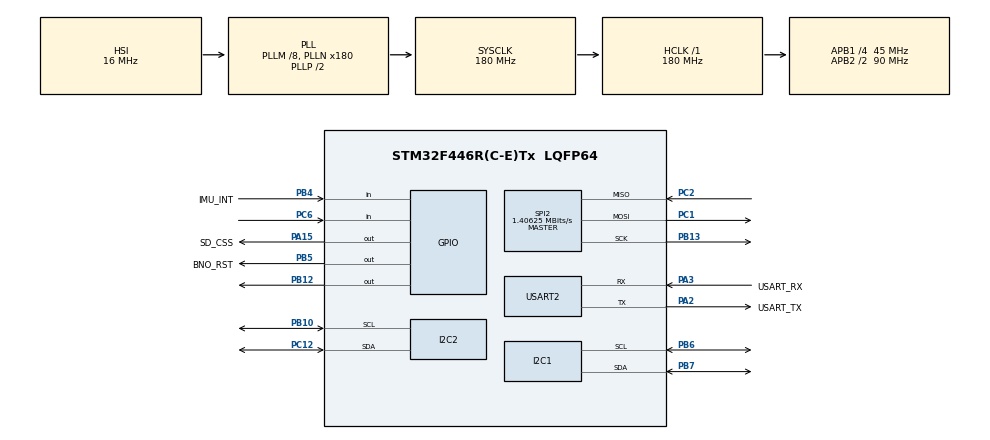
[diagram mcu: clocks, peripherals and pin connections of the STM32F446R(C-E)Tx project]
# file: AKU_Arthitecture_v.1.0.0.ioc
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FREERTOS.Tasks01=Read_SensorData,2,1024,Read_Sensor_Data_Task,Default,NULL,Dynamic,NULL,NULL;Flight_States,2,1024,Flight_States_Task,Default,NULL,Dynamic,NULL,NULL
FREERTOS.configCHECK_FOR_STACK_OVERFLOW=1
FREERTOS.configTOTAL_HEAP_SIZE=45360
FREERTOS.configUSE_NEWLIB_REENTRANT=1
Mcu.Family=STM32F4
Mcu.Name=STM32F446R(C-E)Tx
Mcu.Package=LQFP64
NVIC.PriorityGroup=NVIC_PRIORITYGROUP_4
NVIC.TIM1_UP_TIM10_IRQn=true\:15\:0\:false\:false\:true\:false\:false\:true\:true
NVIC.TimeBase=TIM1_UP_TIM10_IRQn
NVIC.TimeBaseIP=TIM1
NVIC.USART2_IRQn=true\:5\:0\:false\:false\:true\:true\:true\:true\:true
PA13.GPIO_Label=TMS
PA13.Mode=Serial_Wire
PA13.Signal=SYS_JTMS-SWDIO
PA14.GPIO_Label=TCK
PA14.Mode=Serial_Wire
PA14.Signal=SYS_JTCK-SWCLK
PA15.GPIO_Label=SD_CSS
PA15.Signal=GPIO_Output
PA2.GPIO_Label=USART_TX
PA2.Mode=Asynchronous
PA2.Signal=USART2_TX
PA3.GPIO_Label=USART_RX
PA3.Mode=Asynchronous
PA3.Signal=USART2_RX
PB10.Mode=I2C
PB10.Signal=I2C2_SCL
PB12.Signal=GPIO_Output
PB13.Mode=Full_Duplex_Master
PB13.Signal=SPI2_SCK
PB4.GPIO_Label=IMU_INT
PB4.Signal=GPIO_Input
PB5.GPIO_Label=BNO_RST
PB5.Signal=GPIO_Output
PB6.Mode=I2C
PB6.Signal=I2C1_SCL
PB7.Mode=I2C
PB7.Signal=I2C1_SDA
PC1.Mode=Full_Duplex_Master
PC1.Signal=SPI2_MOSI
PC12.Mode=I2C
PC12.Signal=I2C2_SDA
PC2.Mode=Full_Duplex_Master
PC2.Signal=SPI2_MISO
PC6.Signal=GPIO_Input
PH0-OSC_IN.Mode=HSE-External-Oscillator
PH0-OSC_IN.Signal=RCC_OSC_IN
PH1-OSC_OUT.Mode=HSE-External-Oscillator
PH1-OSC_OUT.Signal=RCC_OSC_OUT
ProjectManager.HeapSize=0x200
ProjectManager.StackSize=0x400
ProjectManager.TargetToolchain=STM32CubeIDE
RCC.48MHZClocksFreq_Value=84000000
RCC.AHBFreq_Value=180000000
RCC.APB1CLKDivider=RCC_HCLK_DIV4
RCC.APB1Freq_Value=45000000
RCC.APB1TimFreq_Value=90000000
RCC.APB2CLKDivider=RCC_HCLK_DIV2
RCC.APB2Freq_Value=90000000
RCC.APB2TimFreq_Value=180000000
RCC.CortexFreq_Value=180000000
RCC.FLatency-AdvancedSettings=FLASH_LATENCY_5
RCC.HCLKFreq_Value=180000000
RCC.HSE_VALUE=8000000
RCC.HSI_VALUE=16000000
RCC.PLLM=8
RCC.PLLN=180
RCC.PLLQ=3
RCC.PLLSourceVirtual=RCC_PLLSOURCE_HSI
RCC.SYSCLKFreq_VALUE=180000000
RCC.SYSCLKSource=RCC_SYSCLKSOURCE_PLLCLK
RCC.USBFreq_Value=120000000
RCC.VCOOutputFreq_Value=360000000
SPI2.BaudRatePrescaler=SPI_BAUDRATEPRESCALER_32
SPI2.CalculateBaudRate=1.40625 MBits/s
SPI2.Direction=SPI_DIRECTION_2LINES
SPI2.Mode=SPI_MODE_MASTER
SPI2.VirtualType=VM_MASTER
TIM2.Period=9999
TIM2.Prescaler=180-1
TIM3.Channel-Output\ Compare1\ No\ Output=TIM_CHANNEL_1
TIM3.Channel-Output\ Compare2\ No\ Output=TIM_CHANNEL_2
TIM3.Period=9999
TIM3.Prescaler=180-1
TIM6.AutoReloadPreload=TIM_AUTORELOAD_PRELOAD_DISABLE
TIM6.Prescaler=9000-1
USART2.VirtualMode=VM_ASYNC
VP_FREERTOS_VS_CMSIS_V1.Mode=CMSIS_V1
VP_SYS_VS_tim1.Mode=TIM1
VP_TIM2_VS_ClockSourceINT.Mode=Internal
VP_TIM3_VS_ClockSourceINT.Mode=Internal
VP_TIM3_VS_no_output1.Mode=Output Compare1 No Output
VP_TIM3_VS_no_output2.Mode=Output Compare2 No Output
VP_TIM6_VS_ClockSourceINT.Mode=Enable_Timer
board=NUCLEO-F446RE

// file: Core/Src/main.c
/* USER CODE BEGIN Header */
/**
  ******************************************************************************
  * @file           : main.c
  * @brief          : Main program body
  ******************************************************************************
  * @attention
  *
  * Copyright (c) 2024 STMicroelectronics.
  * All rights reserved.
  *
  * This software is licensed under terms that can be found in the LICENSE file
  * in the root directory of this software component.
  * If no LICENSE file comes with this software, it is provided AS-IS.
  *
  ******************************************************************************
  */
/* USER CODE END Header */
#include "main.h"
#include "cmsis_os.h"
#include "i2c.h"
#include "spi.h"
#include "tim.h"
#include "usart.h"
#include "gpio.h"

/* USER CODE BEGIN Includes */
#include "yrt_ms5611.h"
/* USER CODE END Includes */

void SystemClock_Config(void);
void MX_FREERTOS_Init(void);

int main(void)
{

  /* MCU Configuration--------------------------------------------------------*/

  /* Reset of all peripherals, Initializes the Flash interface and the Systick. */
  HAL_Init();

  /* Configure the system clock */
  SystemClock_Config();

  /* Initialize all configured peripherals */
  MX_GPIO_Init();
  MX_USART2_UART_Init();
  MX_I2C2_Init();
  MX_TIM2_Init();
  MX_I2C1_Init();
  MX_TIM3_Init();
  MX_TIM6_Init();
  MX_SPI2_Init();

  /* Call init function for freertos objects (in freertos.c) */
  MX_FREERTOS_Init();

  /* Start scheduler */
  osKernelStart();
  /* We should never get here as control is now taken by the scheduler */
  /* Infinite loop */
  while (1)
  {

  }
}

void SystemClock_Config(void)
{
  RCC_OscInitTypeDef RCC_OscInitStruct = {0};
  RCC_ClkInitTypeDef RCC_ClkInitStruct = {0};

  /** Configure the main internal regulator output voltage
  */
  __HAL_RCC_PWR_CLK_ENABLE();
  __HAL_PWR_VOLTAGESCALING_CONFIG(PWR_REGULATOR_VOLTAGE_SCALE1);

  /** Initializes the RCC Oscillators according to the specified parameters
  * in the RCC_OscInitTypeDef structure.
  */
  RCC_OscInitStruct.OscillatorType = RCC_OSCILLATORTYPE_HSI;
  RCC_OscInitStruct.HSIState = RCC_HSI_ON;
  RCC_OscInitStruct.HSICalibrationValue = RCC_HSICALIBRATION_DEFAULT;
  RCC_OscInitStruct.PLL.PLLState = RCC_PLL_ON;
  RCC_OscInitStruct.PLL.PLLSource = RCC_PLLSOURCE_HSI;
  RCC_OscInitStruct.PLL.PLLM = 8;
  RCC_OscInitStruct.PLL.PLLN = 180;
  RCC_OscInitStruct.PLL.PLLP = RCC_PLLP_DIV2;
  RCC_OscInitStruct.PLL.PLLQ = 3;
  RCC_OscInitStruct.PLL.PLLR = 2;
  if (HAL_RCC_OscConfig(&RCC_OscInitStruct) != HAL_OK)
  {
    Error_Handler();
  }

  /** Activate the Over-Drive mode
  */
  if (HAL_PWREx_EnableOverDrive() != HAL_OK)
  {
    Error_Handler();
  }

  /** Initializes the CPU, AHB and APB buses clocks
  */
  RCC_ClkInitStruct.ClockType = RCC_CLOCKTYPE_HCLK|RCC_CLOCKTYPE_SYSCLK
                              |RCC_CLOCKTYPE_PCLK1|RCC_CLOCKTYPE_PCLK2;
  RCC_ClkInitStruct.SYSCLKSource = RCC_SYSCLKSOURCE_PLLCLK;
  RCC_ClkInitStruct.AHBCLKDivider = RCC_SYSCLK_DIV1;
  RCC_ClkInitStruct.APB1CLKDivider = RCC_HCLK_DIV4;
  RCC_ClkInitStruct.APB2CLKDivider = RCC_HCLK_DIV2;

  if (HAL_RCC_ClockConfig(&RCC_ClkInitStruct, FLASH_LATENCY_5) != HAL_OK)
  {
    Error_Handler();
  }
}

void HAL_TIM_PeriodElapsedCallback(TIM_HandleTypeDef *htim)
{
  if (htim->Instance == TIM1) {
    HAL_IncTick();
  }
}

void Error_Handler(void)
{
  __disable_irq();
  while (1)
  {
  }
}

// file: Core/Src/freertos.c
/* USER CODE BEGIN Header */
/**
  ******************************************************************************
  * File Name          : freertos.c
  * Description        : Code for freertos applications
  ******************************************************************************
  * @attention
  *
  * Copyright (c) 2024 STMicroelectronics.
  * All rights reserved.
  *
  * This software is licensed under terms that can be found in the LICENSE file
  * in the root directory of this software component.
  * If no LICENSE file comes with this software, it is provided AS-IS.
  *
  ******************************************************************************
  */
/* USER CODE END Header */

#include "FreeRTOS.h"
#include "task.h"
#include "main.h"
#include "cmsis_os.h"

/* USER CODE BEGIN Includes */
#include "aku_config.h"
#include "aku_infra_imu.h"
#include "aku_infra_barometer.h"
#include "aku_structure.h"
#include "aku_infrastructure.h"
/* USER CODE END Includes */

/* USER CODE BEGIN Variables */
IMU* imu_ptr;
Altitude* altitude_ptr;

IMU* imu_ptr1;
Altitude* altitude_ptr1;
/* USER CODE END Variables */
osThreadId Read_SensorDataHandle;
osThreadId Flight_StatesHandle;

void Read_Sensor_Data_Task(void const * argument);
void Flight_States_Task(void const * argument);

void MX_FREERTOS_Init(void); /* (MISRA C 2004 rule 8.1) */

/* GetIdleTaskMemory prototype (linked to static allocation support) */
void vApplicationGetIdleTaskMemory( StaticTask_t **ppxIdleTaskTCBBuffer, StackType_t **ppxIdleTaskStackBuffer, uint32_t *pulIdleTaskStackSize );

/* Hook prototypes */
void vApplicationStackOverflowHook(xTaskHandle xTask, signed char *pcTaskName);

/* USER CODE BEGIN 4 */
__weak void vApplicationStackOverflowHook(xTaskHandle xTask, signed char *pcTaskName)
{
   /* Run time stack overflow checking is performed if
   configCHECK_FOR_STACK_OVERFLOW is defined to 1 or 2. This hook function is
   called if a stack overflow is detected. */
}
/* USER CODE END 4 */

/* USER CODE BEGIN GET_IDLE_TASK_MEMORY */
static StaticTask_t xIdleTaskTCBBuffer;
static StackType_t xIdleStack[configMINIMAL_STACK_SIZE];

void vApplicationGetIdleTaskMemory( StaticTask_t **ppxIdleTaskTCBBuffer, StackType_t **ppxIdleTaskStackBuffer, uint32_t *pulIdleTaskStackSize )
{
  *ppxIdleTaskTCBBuffer = &xIdleTaskTCBBuffer;
  *ppxIdleTaskStackBuffer = &xIdleStack[0];
  *pulIdleTaskStackSize = configMINIMAL_STACK_SIZE;
  /* place for user code */
}
/* USER CODE END GET_IDLE_TASK_MEMORY */

void MX_FREERTOS_Init(void) {

  /* Create the thread(s) */
  /* definition and creation of Read_SensorData */
  osThreadDef(Read_SensorData, Read_Sensor_Data_Task, osPriorityHigh, 0, 1024);
  Read_SensorDataHandle = osThreadCreate(osThread(Read_SensorData), NULL);

  /* definition and creation of Flight_States */
  osThreadDef(Flight_States, Flight_States_Task, osPriorityHigh, 0, 1024);
  Flight_StatesHandle = osThreadCreate(osThread(Flight_States), NULL);

}

void Read_Sensor_Data_Task(void const * argument)
{
  /* USER CODE BEGIN Read_Sensor_Data_Task */
	timer_init();
	init_IMU();
	init_Barometer();

  /* Infinite loop */
  for(;;)
  {
		altitude_ptr = read_Barometer();
		imu_ptr = read_IMU();
    osDelay(1);
  }
  /* USER CODE END Read_Sensor_Data_Task */
}

/* USER CODE BEGIN Header_Flight_States_Task */
/**
* @brief Function implementing the Flight_States thread.
* @param argument: Not used
* @retval None
*/
int a;
uint32_t tick;
/* USER CODE END Header_Flight_States_Task */
void Flight_States_Task(void const * argument)
{
  for(;;)
  {
    osDelay(1);
  }
}
